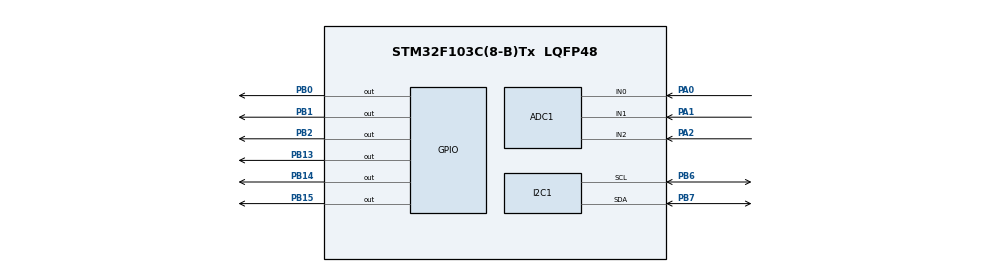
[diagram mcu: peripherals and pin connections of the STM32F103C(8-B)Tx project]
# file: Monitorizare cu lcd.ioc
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ADC1.Channel-0\#ChannelRegularConversion=ADC_CHANNEL_0
ADC1.Channel-1\#ChannelRegularConversion=ADC_CHANNEL_1
ADC1.Channel-2\#ChannelRegularConversion=ADC_CHANNEL_2
ADC1.ContinuousConvMode=ENABLE
ADC1.NbrOfConversion=3
ADC1.NbrOfConversionFlag=1
ADC1.Rank-0\#ChannelRegularConversion=1
ADC1.Rank-1\#ChannelRegularConversion=2
ADC1.Rank-2\#ChannelRegularConversion=3
ADC1.SamplingTime-0\#ChannelRegularConversion=ADC_SAMPLETIME_55CYCLES_5
ADC1.SamplingTime-1\#ChannelRegularConversion=ADC_SAMPLETIME_55CYCLES_5
ADC1.SamplingTime-2\#ChannelRegularConversion=ADC_SAMPLETIME_55CYCLES_5
ADC1.master=1
Mcu.Family=STM32F1
Mcu.Name=STM32F103C(8-B)Tx
Mcu.Package=LQFP48
NVIC.PriorityGroup=NVIC_PRIORITYGROUP_4
PA0-WKUP.Signal=ADCx_IN0
PA1.Signal=ADCx_IN1
PA2.Signal=ADCx_IN2
PB0.Signal=GPIO_Output
PB1.Signal=GPIO_Output
PB13.Signal=GPIO_Output
PB14.Signal=GPIO_Output
PB15.Signal=GPIO_Output
PB2.Signal=GPIO_Output
PB6.Mode=I2C
PB6.Signal=I2C1_SCL
PB7.Mode=I2C
PB7.Signal=I2C1_SDA
ProjectManager.HeapSize=0x200
ProjectManager.StackSize=0x400
ProjectManager.TargetToolchain=STM32CubeIDE
RCC.APB1Freq_Value=8000000
RCC.APB2Freq_Value=8000000
SH.ADCx_IN0.0=ADC1_IN0,IN0
SH.ADCx_IN1.0=ADC1_IN1,IN1
SH.ADCx_IN2.0=ADC1_IN2,IN2
VP_SYS_VS_ND.Mode=No_Debug
board=custom

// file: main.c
/* USER CODE BEGIN Header */
/**
  ******************************************************************************
  * @file           : main.c
  * @brief          : Main program body
  ******************************************************************************
  */
/* USER CODE END Header */
#include "main.h"
#include <stdio.h>

ADC_HandleTypeDef hadc1;
I2C_HandleTypeDef hi2c1;

/* USER CODE BEGIN PV */
#define LCD_ADDR   (0x27 << 1)   //
const float LOW_T  = 30.0f;      //
const float HIGH_T = 70.0f;
/* USER CODE END PV */

void SystemClock_Config(void);
static void MX_GPIO_Init(void);
static void MX_ADC1_Init(void);
static void MX_I2C1_Init(void);

/* USER CODE BEGIN 0 */

static void leds_off(void){
  HAL_GPIO_WritePin(GPIOB, GPIO_PIN_0|GPIO_PIN_1|GPIO_PIN_2, GPIO_PIN_RESET);
}
static void led_y_on(void){ HAL_GPIO_WritePin(GPIOB, GPIO_PIN_0, GPIO_PIN_SET); }
static void led_g_on(void){ HAL_GPIO_WritePin(GPIOB, GPIO_PIN_1, GPIO_PIN_SET); }
static void led_r_on(void){ HAL_GPIO_WritePin(GPIOB, GPIO_PIN_2, GPIO_PIN_SET); }

static void sensor_leds_off(void){
  HAL_GPIO_WritePin(GPIOB, GPIO_PIN_13|GPIO_PIN_14|GPIO_PIN_15, GPIO_PIN_RESET);
}
static void sensor_led_set_one(uint8_t idx){

  sensor_leds_off();
  switch(idx){
    case 0: HAL_GPIO_WritePin(GPIOB, GPIO_PIN_13, GPIO_PIN_SET); break;
    case 1: HAL_GPIO_WritePin(GPIOB, GPIO_PIN_14, GPIO_PIN_SET); break;
    case 2: HAL_GPIO_WritePin(GPIOB, GPIO_PIN_15, GPIO_PIN_SET); break;
    default: break;
  }
}

/**************************** ADC helper *************************************/
static uint32_t adc_read_one(void){
  HAL_ADC_PollForConversion(&hadc1, 10);
  return HAL_ADC_GetValue(&hadc1);   // 0..4095 (12-bit)
}

/**************************** LCD I2C (PCF8574) ******************************/
static void lcd_i2c_send(uint8_t b){ HAL_I2C_Master_Transmit(&hi2c1, LCD_ADDR, &b, 1, 50); }
static void lcd_send_nibble(uint8_t nib, uint8_t rs){
  uint8_t BL=0x08, EN=0x04, RS=rs?0x01:0x00, d=(nib&0x0F)<<4;
  lcd_i2c_send(d|BL|RS|EN); lcd_i2c_send(d|BL|RS);
}
static void lcd_send_byte(uint8_t b,uint8_t rs){ lcd_send_nibble(b>>4,rs); lcd_send_nibble(b&0x0F,rs); }
static void lcd_cmd(uint8_t c){ lcd_send_byte(c,0); HAL_Delay(2); }
static void lcd_data(uint8_t d){ lcd_send_byte(d,1); }
static void lcd_init(void){
  HAL_Delay(50);
  lcd_send_nibble(0x03,0); HAL_Delay(5);
  lcd_send_nibble(0x03,0); HAL_Delay(5);
  lcd_send_nibble(0x03,0); HAL_Delay(1);
  lcd_send_nibble(0x02,0); HAL_Delay(1);
  lcd_cmd(0x28); lcd_cmd(0x0C); lcd_cmd(0x06); lcd_cmd(0x01); HAL_Delay(2);
}
static void lcd_set_cursor(uint8_t col,uint8_t row){ static const uint8_t base[]={0x80,0xC0}; lcd_cmd(base[row]+col); }
static void lcd_print(const char* s){ while(*s) lcd_data((uint8_t)*s++); }
static void lcd_clear_lines(void){ lcd_set_cursor(0,0); lcd_print("                "); lcd_set_cursor(0,1); lcd_print("                "); }

static void lcd_show_msg(float pct){
  lcd_clear_lines();
  if(pct<LOW_T){ lcd_set_cursor(0,0); lcd_print("Lumina SLABA");      lcd_set_cursor(0,1); lcd_print("LED: Galben"); }
  else if(pct<=HIGH_T){ lcd_set_cursor(0,0); lcd_print("Lumina FAVORABILA"); lcd_set_cursor(0,1); lcd_print("LED: Verde"); }
  else { lcd_set_cursor(0,0); lcd_print("Lumina PUTERNICA"); lcd_set_cursor(0,1); lcd_print("LED: Rosu"); }
}
/* USER CODE END 0 */

int main(void)
{
  HAL_Init();
  SystemClock_Config();

  MX_GPIO_Init();
  MX_ADC1_Init();
  MX_I2C1_Init();

  /* USER CODE BEGIN 2 */
  HAL_ADC_Start(&hadc1);
  leds_off();
  sensor_leds_off();

  lcd_init();
  lcd_set_cursor(0,0); lcd_print("Sistem lumina");
  lcd_set_cursor(0,1); lcd_print("Pornit");
  HAL_Delay(600);
  /* USER CODE END 2 */

  while (1)
  {

    uint32_t v0 = adc_read_one();
    uint32_t v1 = adc_read_one();
    uint32_t v2 = adc_read_one();

    uint32_t avg = (v0 + v1 + v2) / 3;
    float pct = (avg * 100.0f) / 4095.0f;
    pct = 100.0f - pct;

    leds_off();
    if (pct < LOW_T)        led_y_on();
    else if (pct <= HIGH_T) led_g_on();
    else                    led_r_on();

    uint32_t best_val = v0;
    uint8_t  best_idx = 0;
    if (v1 < best_val) { best_val = v1; best_idx = 1; }
    if (v2 < best_val) { best_val = v2; best_idx = 2; }
    sensor_led_set_one(best_idx);

    lcd_show_msg(pct);

    HAL_Delay(200);
  }
}

/* System / Peripherals init (generate de CubeMX) ---------------------------*/
void SystemClock_Config(void)
{
  RCC_OscInitTypeDef RCC_OscInitStruct = {0};
  RCC_ClkInitTypeDef RCC_ClkInitStruct = {0};
  RCC_PeriphCLKInitTypeDef PeriphClkInit = {0};

  RCC_OscInitStruct.OscillatorType = RCC_OSCILLATORTYPE_HSI;
  RCC_OscInitStruct.HSIState = RCC_HSI_ON;
  RCC_OscInitStruct.HSICalibrationValue = RCC_HSICALIBRATION_DEFAULT;
  RCC_OscInitStruct.PLL.PLLState = RCC_PLL_NONE;
  if (HAL_RCC_OscConfig(&RCC_OscInitStruct) != HAL_OK) { Error_Handler(); }

  RCC_ClkInitStruct.ClockType = RCC_CLOCKTYPE_HCLK|RCC_CLOCKTYPE_SYSCLK
                              |RCC_CLOCKTYPE_PCLK1|RCC_CLOCKTYPE_PCLK2;
  RCC_ClkInitStruct.SYSCLKSource = RCC_SYSCLKSOURCE_HSI;
  RCC_ClkInitStruct.AHBCLKDivider = RCC_SYSCLK_DIV1;
  RCC_ClkInitStruct.APB1CLKDivider = RCC_HCLK_DIV1;
  RCC_ClkInitStruct.APB2CLKDivider = RCC_HCLK_DIV1;

  if (HAL_RCC_ClockConfig(&RCC_ClkInitStruct, FLASH_LATENCY_0) != HAL_OK) { Error_Handler(); }

  PeriphClkInit.PeriphClockSelection = RCC_PERIPHCLK_ADC;
  PeriphClkInit.AdcClockSelection = RCC_ADCPCLK2_DIV2;
  if (HAL_RCCEx_PeriphCLKConfig(&PeriphClkInit) != HAL_OK) { Error_Handler(); }
}

static void MX_ADC1_Init(void)
{
  ADC_ChannelConfTypeDef sConfig = {0};

  hadc1.Instance = ADC1;
  hadc1.Init.ScanConvMode = ADC_SCAN_ENABLE;
  hadc1.Init.ContinuousConvMode = ENABLE;
  hadc1.Init.DiscontinuousConvMode = DISABLE;
  hadc1.Init.ExternalTrigConv = ADC_SOFTWARE_START;
  hadc1.Init.DataAlign = ADC_DATAALIGN_RIGHT;
  hadc1.Init.NbrOfConversion = 3;
  if (HAL_ADC_Init(&hadc1) != HAL_OK) { Error_Handler(); }

  sConfig.Channel = ADC_CHANNEL_0;                // PA0
  sConfig.Rank = ADC_REGULAR_RANK_1;
  sConfig.SamplingTime = ADC_SAMPLETIME_55CYCLES_5;
  if (HAL_ADC_ConfigChannel(&hadc1, &sConfig) != HAL_OK) { Error_Handler(); }

  sConfig.Channel = ADC_CHANNEL_1;                // PA1
  sConfig.Rank = ADC_REGULAR_RANK_2;
  if (HAL_ADC_ConfigChannel(&hadc1, &sConfig) != HAL_OK) { Error_Handler(); }

  sConfig.Channel = ADC_CHANNEL_2;                // PA2
  sConfig.Rank = ADC_REGULAR_RANK_3;
  if (HAL_ADC_ConfigChannel(&hadc1, &sConfig) != HAL_OK) { Error_Handler(); }
}

static void MX_I2C1_Init(void)
{
  hi2c1.Instance = I2C1;
  hi2c1.Init.ClockSpeed = 100000;
  hi2c1.Init.DutyCycle = I2C_DUTYCYCLE_2;
  hi2c1.Init.OwnAddress1 = 0;
  hi2c1.Init.AddressingMode = I2C_ADDRESSINGMODE_7BIT;
  hi2c1.Init.DualAddressMode = I2C_DUALADDRESS_DISABLE;
  hi2c1.Init.OwnAddress2 = 0;
  hi2c1.Init.GeneralCallMode = I2C_GENERALCALL_DISABLE;
  hi2c1.Init.NoStretchMode = I2C_NOSTRETCH_DISABLE;
  if (HAL_I2C_Init(&hi2c1) != HAL_OK) { Error_Handler(); }
}

static void MX_GPIO_Init(void)
{
  GPIO_InitTypeDef GPIO_InitStruct = {0};

  __HAL_RCC_GPIOA_CLK_ENABLE();
  __HAL_RCC_GPIOB_CLK_ENABLE();

  HAL_GPIO_WritePin(GPIOB, GPIO_PIN_0|GPIO_PIN_1|GPIO_PIN_2, GPIO_PIN_RESET);
  GPIO_InitStruct.Pin = GPIO_PIN_0|GPIO_PIN_1|GPIO_PIN_2;
  GPIO_InitStruct.Mode = GPIO_MODE_OUTPUT_PP;
  GPIO_InitStruct.Pull = GPIO_NOPULL;
  GPIO_InitStruct.Speed = GPIO_SPEED_FREQ_LOW;
  HAL_GPIO_Init(GPIOB, &GPIO_InitStruct);

  HAL_GPIO_WritePin(GPIOB, GPIO_PIN_13|GPIO_PIN_14|GPIO_PIN_15, GPIO_PIN_RESET);
  GPIO_InitStruct.Pin = GPIO_PIN_13|GPIO_PIN_14|GPIO_PIN_15;
  GPIO_InitStruct.Mode = GPIO_MODE_OUTPUT_PP;
  GPIO_InitStruct.Pull = GPIO_NOPULL;
  GPIO_InitStruct.Speed = GPIO_SPEED_FREQ_LOW;
  HAL_GPIO_Init(GPIOB, &GPIO_InitStruct);
}

void Error_Handler(void)
{
  __disable_irq();
  while (1) {}
}
